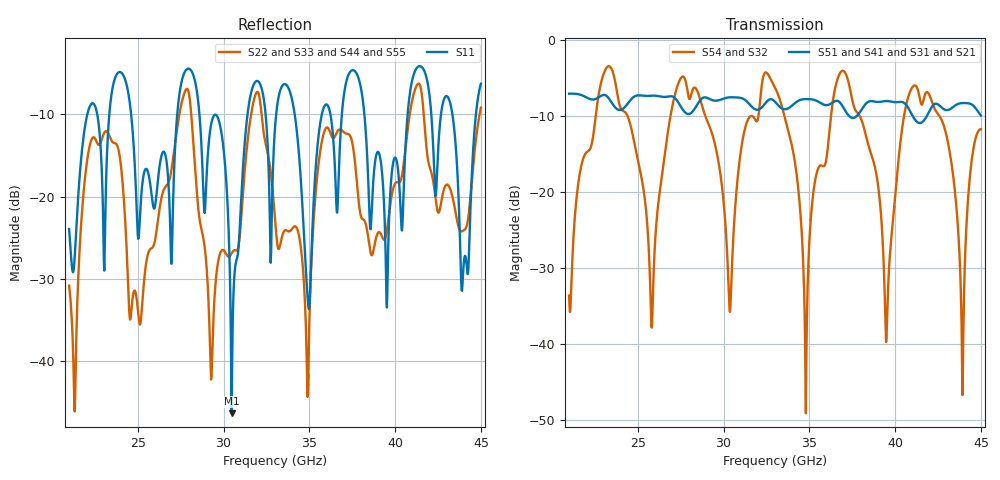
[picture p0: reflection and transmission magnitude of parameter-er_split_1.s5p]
! Created Mon Jun 10 12:45:40 2024
# hz S ma R 50
! 5 Port Network Data from SP1.SP block
! freq  magS11  angS11  magS12  angS12  magS13  angS13  magS14  angS14
!  magS15  angS15
!  magS21  angS21  magS22  angS22  magS23  angS23
!  magS24  angS24  magS25  angS25
!  magS31  angS31  magS32  angS32
!  magS33  angS33  magS34  angS34  magS35  angS35
!  magS41  angS41
!  magS42  angS42  magS43  angS43  magS44  angS44  magS45  angS45
!  magS51  angS51  magS52  angS52  magS53  angS53  magS54  angS54
!  magS55  angS55
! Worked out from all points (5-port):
!   961 points, 21 GHz to 45 GHz, reference 50 ohm
!   strongest paths, dB at 21 GHz, 27 GHz, 33 GHz, 39 GHz, 45 GHz:
!     S51: -7.1, -7.5, -8.2, -8.2, -10.0
!     S41: -7.1, -7.5, -8.2, -8.2, -10.0
!     S31: -7.1, -7.5, -8.2, -8.2, -10.0
!     S21: -7.1, -7.5, -8.2, -8.2, -10.0
!     S54: -33.6, -8.9, -6.3, -19.0, -11.8
!     S32: -33.6, -8.9, -6.3, -19.0, -11.8
!   lowest |S11| = -46.4 dB at 30.48 GHz (marker M1), VSWR 1.01, Z = 49.6 - j0.269 ohm
!   |S11| at or under -10 dB: 24.61 GHz to 27.3 GHz (2.687 GHz wide, 10.3 % of centre); 28.59 GHz to 31.4 GHz (2.802 GHz wide, 9.34 % of centre); 38.21 GHz to 40.73 GHz (2.521 GHz wide, 6.39 % of centre)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
